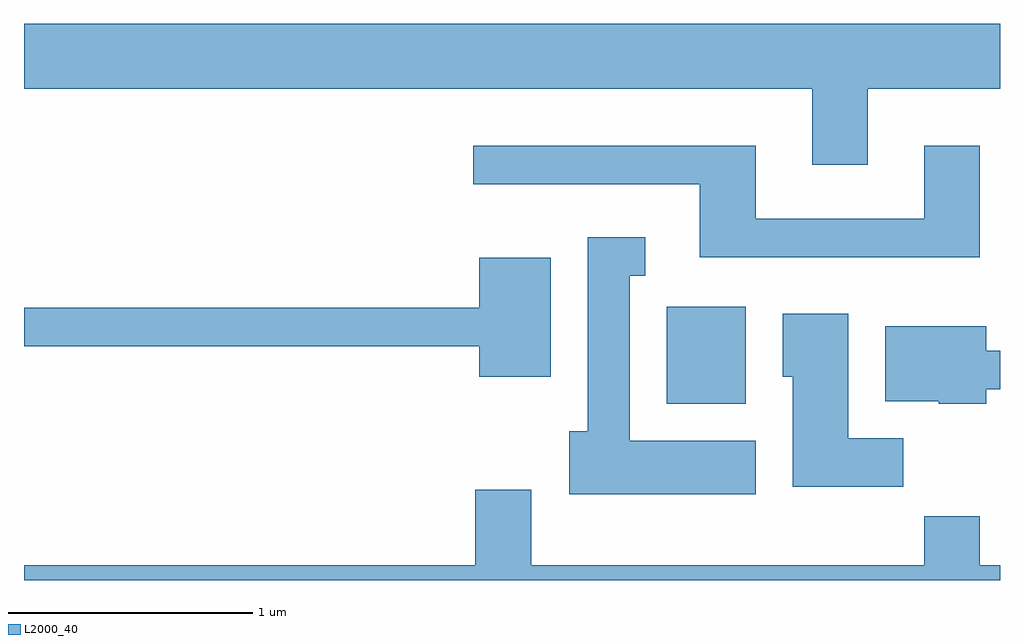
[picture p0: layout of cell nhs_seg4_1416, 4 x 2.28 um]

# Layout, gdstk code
import gdstk
lib = gdstk.Library(unit=1e-6, precision=1e-09)
def R(c, l, rs):  # rectangles x0, y0, x1, y1
    for r in rs: c.add(gdstk.rectangle(r[:2], r[2:], *l))
def P(c, l, *ps):  # polygons
    for p in ps: c.add(gdstk.Polygon(p, *l))
L2000_40 = (2000, 40)

nhs_seg4_1416 = lib.new_cell('nhs_seg4_1416')
R(nhs_seg4_1416, L2000_40, [(228.246,1366.706,228.569,1367.104)])
P(nhs_seg4_1416, L2000_40, [(229.069,1367.996),(229.611,1367.996),(229.611,1368.264),(225.611,1368.264),(225.611,1367.996),(228.841,1367.996),(228.841,1367.686),(229.069,1367.686)],
  [(229.529,1367.764),(229.301,1367.764),(229.301,1367.464),(228.609,1367.464),(228.609,1367.764),(227.453,1367.764),(227.453,1367.606),(228.381,1367.606),(228.381,1367.306),(229.529,1367.306)],
  [(228.609,1366.554),(228.094,1366.554),(228.094,1367.231),(228.158,1367.231),(228.158,1367.389),(227.921,1367.389),(227.921,1366.594),(227.846,1366.594),(227.846,1366.336),(228.609,1366.336)],
  [(227.769,1367.304),(227.476,1367.304),(227.476,1367.099),(225.611,1367.099),(225.611,1366.941),(227.476,1366.941),(227.476,1366.816),(227.769,1366.816)],
  [(229.214,1366.564),(228.989,1366.564),(228.989,1367.074),(228.721,1367.074),(228.721,1366.816),(228.761,1366.816),(228.761,1366.366),(229.214,1366.366)],
  [(229.554,1366.766),(229.611,1366.766),(229.611,1366.924),(229.554,1366.924),(229.554,1367.024),(229.141,1367.024),(229.141,1366.716),(229.36,1366.716),(229.36,1366.706),(229.554,1366.706)],
  [(229.611,1366.044),(229.529,1366.044),(229.529,1366.244),(229.301,1366.244),(229.301,1366.044),(227.689,1366.044),(227.689,1366.354),(227.461,1366.354),(227.461,1366.044),(225.611,1366.044),(225.611,1365.982),(229.611,1365.982)])

lib.write_gds('nhs_seg4_1416.gds')
